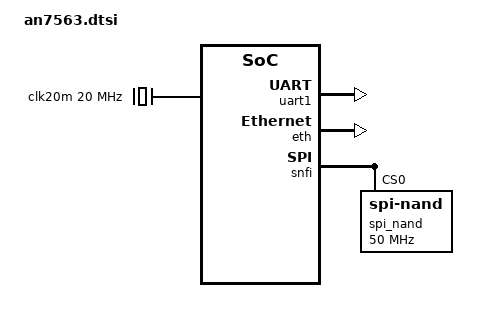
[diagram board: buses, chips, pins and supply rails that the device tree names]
// SPDX-License-Identifier: (GPL-2.0-only OR BSD-2-Clause)
/*
 * Airoha AN7563 / AN7552 SoC dtsi.
 *
 * AN7563 is a dual Cortex-A53 cluster running ARMv8 in 32-bit AArch32
 * mode (ARMv7-A code path) but its chip-SCU and SCU register windows
 * follow the EN7581 layout, in particular the IOMUX_1 register at
 * chip-SCU offset 0x214 which differs from EN7523 (0x210).
 *
 * The two SCU nodes therefore carry an AN7563-specific compatible
 * followed by the EN7581 fallback compatibles, which is what
 * clk-airoha / reset-airoha and the AN7563 mach-airoha glue match
 * against to share the EN7581 clock / reset descriptor tables.
 */

#include <dt-bindings/interrupt-controller/irq.h>
#include <dt-bindings/interrupt-controller/arm-gic.h>
#include <dt-bindings/gpio/gpio.h>
#include <dt-bindings/clock/en7523-clk.h>
#include <dt-bindings/phy/airoha,arht-usb-phy.h>
#include <dt-bindings/phy/phy.h>
#include <dt-bindings/reset/airoha,en7581-reset.h>
#include <dt-bindings/thermal/thermal.h>

/ {
	interrupt-parent = <&gic>;
	#address-cells = <1>;
	#size-cells = <1>;

	reserved-memory {
		#address-cells = <1>;
		#size-cells = <1>;
		ranges;

		atf-reserved-memory@80000000 {
			no-map;
			reg = <0x80000000 0x88000>;
		};

		npu_binary: npu-binary@84000000 {
			no-map;
			reg = <0x84000000 0x00100000>;
		};

		npu_pkt: npu-pkt@84d00000 {
			no-map;
			reg = <0x84d00000 0x01600000>;
		};

		qdma0_buf: qdma0-buf@86400000 {
			no-map;
			reg = <0x86400000 0x02000000>;
		};

		qdma1_buf: qdma1-buf@88400000 {
			no-map;
			reg = <0x88400000 0x01000000>;
		};
	};

	psci {
		compatible = "arm,psci-0.2";
		method = "smc";
	};

	cpus {
		#address-cells = <1>;
		#size-cells = <0>;

		cpu-map {
			cluster0 {
				core0 {
					cpu = <&cpu0>;
				};
				core1 {
					cpu = <&cpu1>;
				};
			};
		};

		cpu0: cpu@0 {
			device_type = "cpu";
			compatible = "arm,cortex-a53";
			reg = <0x0>;
			enable-method = "psci";
			clock-frequency = <80000000>;
			next-level-cache = <&L2_0>;
		};

		cpu1: cpu@1 {
			device_type = "cpu";
			compatible = "arm,cortex-a53";
			reg = <0x1>;
			enable-method = "psci";
			clock-frequency = <80000000>;
			next-level-cache = <&L2_0>;
		};

		L2_0: l2-cache0 {
			compatible = "cache";
			cache-level = <2>;
			cache-unified;
		};
	};

	chip_scu: syscon@1fa20000 {
		compatible = "airoha,an7563-chip-scu",
			     "airoha,en7581-chip-scu",
			     "syscon";
		reg = <0x1fa20000 0x388>;
	};

	scuclk: clock-controller@1fb00000 {
		compatible = "airoha,an7563-scu",
			     "airoha,en7581-scu",
			     "syscon";
		reg = <0x1fb00000 0x970>;
		#clock-cells = <1>;
		#reset-cells = <1>;
	};

	usb0: usb@1fab0000 {
		compatible = "mediatek,mtk-xhci";
		reg = <0x1fab0000 0x3e00>,
		      <0x1fab3e00 0x100>;
		reg-names = "mac", "ippc";
		interrupts = <GIC_SPI 33 IRQ_TYPE_LEVEL_HIGH>;

		phys = <&usb0_u2 PHY_TYPE_USB2>, <&usb1_u2 PHY_TYPE_USB2>,
		       <&usb0_u3 PHY_TYPE_USB3>;

		status = "disabled";
	};

	usb_phy: phy@1fac0000 {
		compatible = "airoha,an7563-usb-phy";
		reg = <0x1fac0000 0x1400>;

		status = "disabled";

		#address-cells = <1>;
		#size-cells = <0>;

		usb0_u2: usb2-phy@0 {
			reg = <0x0>;
			airoha,usb2-monitor-clk-sel = <AIROHA_USB2_MONCLK_SEL1>;

			#phy-cells = <1>;
		};

		usb1_u2: usb2-phy@1000 {
			reg = <0x1000>;
			airoha,usb2-monitor-clk-sel = <AIROHA_USB2_MONCLK_SEL2>;

			#phy-cells = <1>;
		};

		usb0_u3: usb3-phy {
			#phy-cells = <1>;
		};
	};

	gic: interrupt-controller@9000000 {
		compatible = "arm,gic-v3";
		interrupt-controller;
		#interrupt-cells = <3>;
		#address-cells = <1>;
		#size-cells = <1>;
		reg = <0x09000000 0x20000>,
		      <0x09080000 0x80000>,
		      <0x09400000 0x2000>,
		      <0x09500000 0x2000>,
		      <0x09600000 0x20000>;
		interrupts = <GIC_PPI 9 IRQ_TYPE_LEVEL_LOW>;
	};

	timer {
		compatible = "arm,armv8-timer";
		interrupt-parent = <&gic>;
		interrupts = <GIC_PPI 13 IRQ_TYPE_LEVEL_LOW>,
			     <GIC_PPI 14 IRQ_TYPE_LEVEL_LOW>,
			     <GIC_PPI 11 IRQ_TYPE_LEVEL_LOW>,
			     <GIC_PPI 10 IRQ_TYPE_LEVEL_LOW>;
	};

	clk20m: clock-20000000 {
		compatible = "fixed-clock";
		#clock-cells = <0>;
		clock-frequency = <20000000>;
	};

	rng@1faa1000 {
		compatible = "airoha,an7563-trng";
		reg = <0x1faa1000 0xc04>;
		interrupts = <GIC_SPI 35 IRQ_TYPE_LEVEL_HIGH>;
	};

	uart1: serial@1fbf0000 {
		compatible = "ns16550";
		reg = <0x1fbf0000 0x30>;
		reg-io-width = <4>;
		reg-shift = <2>;
		interrupts = <GIC_SPI 18 IRQ_TYPE_LEVEL_HIGH>;
		clock-frequency = <1843200>;
		bootph-all;
		status = "okay";
	};

	uart2: serial@1fbf0300 {
		compatible = "airoha,arht-uart2";
		reg = <0x1fbf0300 0x30>;
		reg-io-width = <4>;
		reg-shift = <2>;
		interrupts = <GIC_SPI 32 IRQ_TYPE_LEVEL_HIGH>;

		status = "disabled";
	};

	hsuart3: serial@1fbe1000 {
		compatible = "airoha,arht-uart2";
		reg = <0x1fbe1000 0x40>;
		reg-io-width = <4>;
		reg-shift = <2>;
		interrupts = <GIC_SPI 54 IRQ_TYPE_LEVEL_HIGH>;
		high-speed = <1>;

		status = "disabled";
	};

	thermal: thermal-sensor@1efbd000 {
		compatible = "airoha,en7581-thermal";
		reg = <0x1efbd000 0xd5c>;
		interrupts = <GIC_SPI 23 IRQ_TYPE_LEVEL_HIGH>;
		airoha,chip-scu = <&chip_scu>;

		#thermal-sensor-cells = <0>;
	};

	system-controller@1fbf0200 {
		compatible = "airoha,en7581-gpio-sysctl", "syscon",
			     "simple-mfd";
		reg = <0x1fbf0200 0xc0>;

		pinctrl: pinctrl {
			compatible = "airoha,an7563-pinctrl";

			interrupt-parent = <&gic>;
			interrupts = <GIC_SPI 26 IRQ_TYPE_LEVEL_HIGH>;

			gpio-controller;
			#gpio-cells = <2>;

			interrupt-controller;
			#interrupt-cells = <2>;

			gpio-ranges = <&pinctrl 0 0 38>;

			pnand_pins: pnand-pins {
				mux {
					groups = "pnand";
					function = "pnand";
				};
			};
		};
	};

	i2c0: i2c@1fbf8000 {
		compatible = "mediatek,mt7621-i2c";
		reg = <0x1fbf8000 0x100>;

		resets = <&scuclk EN7581_I2C2_RST>;

		clocks = <&clk20m>;
		clock-frequency = <100000>;
		#address-cells = <1>;
		#size-cells = <0>;

		status = "disabled";
	};

	eth: ethernet@1fb50000 {
		compatible = "airoha,en7523-eth";
		reg = <0x1fb50000 0x2600>,
		      <0x1fb54000 0x2000>,
		      <0x1fb56000 0x2000>;
		reg-names = "fe", "qdma0", "qdma1";

		resets = <&scuclk EN7581_FE_RST>,
			 <&scuclk EN7581_FE_PDMA_RST>,
			 <&scuclk EN7581_FE_QDMA_RST>,
			 <&scuclk EN7581_DUAL_HSI0_MAC_RST>,
			 <&scuclk EN7581_DUAL_HSI1_MAC_RST>,
			 <&scuclk EN7581_HSI_MAC_RST>;
		reset-names = "fe", "pdma", "qdma",
			      "hsi0-mac", "hsi1-mac", "hsi-mac";

		#address-cells = <1>;
		#size-cells = <0>;

		gdm1: ethernet@1 {
			compatible = "airoha,eth-mac";
			reg = <1>;
			phy-mode = "internal";
			status = "disabled";

			fixed-link {
				speed = <10000>;
				full-duplex;
				pause;
			};
		};
	};

	switch: switch@1fb58000 {
		compatible = "airoha,en7523-switch";
		reg = <0x1fb58000 0x8000>;

		mdio: mdio {
			#address-cells = <1>;
			#size-cells = <0>;
		};
	};

	snfi: spi@1fa10000 {
		compatible = "airoha,en7523-snand", "airoha,en7581-snand";
		reg = <0x1fa10000 0x140>,
		      <0x1fa11000 0x600>;

		clocks = <&scuclk EN7523_CLK_SPI>;
		clock-names = "spi";

		#address-cells = <1>;
		#size-cells = <0>;

		spi_nand: nand@0 {
			compatible = "spi-nand";
			reg = <0>;
			spi-max-frequency = <50000000>;
			spi-tx-bus-width = <1>;
			spi-rx-bus-width = <2>;
		};
	};

	/*
		* Parallel NAND mode of the same NFI block: mutually
		* exclusive with spi@1fa10000 above, only one of them may
		* be enabled at a time.
		*/
	nand: nand@1fa11000 {
		compatible = "airoha,en7581-nand";
		reg = <0x0 0x1fa11000 0x0 0x600>,
				<0x0 0x1fa12000 0x0 0x200>,
				<0x0 0x1fa10000 0x0 0x140>;
		reg-names = "nfi", "ecc", "spi";

		clocks = <&scuclk EN7523_CLK_SPI>;
		clock-names = "spi";

		pinctrl-names = "default";
		pinctrl-0 = <&pnand_pins>;

		#address-cells = <1>;
		#size-cells = <0>;

		status = "disabled";
	};

	pcie0: pcie@1fa91000 {
		compatible = "airoha,en7523-pcie", "mediatek,mt7622-pcie";
		device_type = "pci";
		reg = <0x1fa91000 0x1000>;
		reg-names = "port0";
		linux,pci-domain = <0>;
		#address-cells = <3>;
		#size-cells = <2>;
		interrupts = <GIC_SPI 39 IRQ_TYPE_LEVEL_HIGH>;
		interrupt-names = "pcie_irq";
		clocks = <&scuclk EN7523_CLK_PCIE>;
		clock-names = "sys_ck0";
		bus-range = <0x00 0xff>;
		ranges = <0x82000000 0 0x20000000  0x20000000  0 0x8000000>;
		status = "disabled";

		#interrupt-cells = <1>;
		interrupt-map-mask = <0 0 0 7>;
		interrupt-map = <0 0 0 1 &pcie_intc0 0>,
				<0 0 0 2 &pcie_intc0 1>,
				<0 0 0 3 &pcie_intc0 2>,
				<0 0 0 4 &pcie_intc0 3>;
		pcie_intc0: interrupt-controller {
			interrupt-controller;
			#address-cells = <0>;
			#interrupt-cells = <1>;
		};
	};

	pcie1: pcie@1fa92000 {
		compatible = "airoha,en7523-pcie", "mediatek,mt7622-pcie";
		device_type = "pci";
		reg = <0x1fa92000 0x1000>;
		reg-names = "port1";
		linux,pci-domain = <1>;
		#address-cells = <3>;
		#size-cells = <2>;
		interrupts = <GIC_SPI 40 IRQ_TYPE_LEVEL_HIGH>;
		interrupt-names = "pcie_irq";
		clocks = <&scuclk EN7523_CLK_PCIE>;
		clock-names = "sys_ck1";
		bus-range = <0x00 0xff>;
		ranges = <0x82000000 0 0x28000000  0x28000000  0 0x8000000>;
		status = "disabled";

		#interrupt-cells = <1>;
		interrupt-map-mask = <0 0 0 7>;
		interrupt-map = <0 0 0 1 &pcie_intc1 0>,
				<0 0 0 2 &pcie_intc1 1>,
				<0 0 0 3 &pcie_intc1 2>,
				<0 0 0 4 &pcie_intc1 3>;
		pcie_intc1: interrupt-controller {
			interrupt-controller;
			#address-cells = <0>;
			#interrupt-cells = <1>;
		};
	};
};
